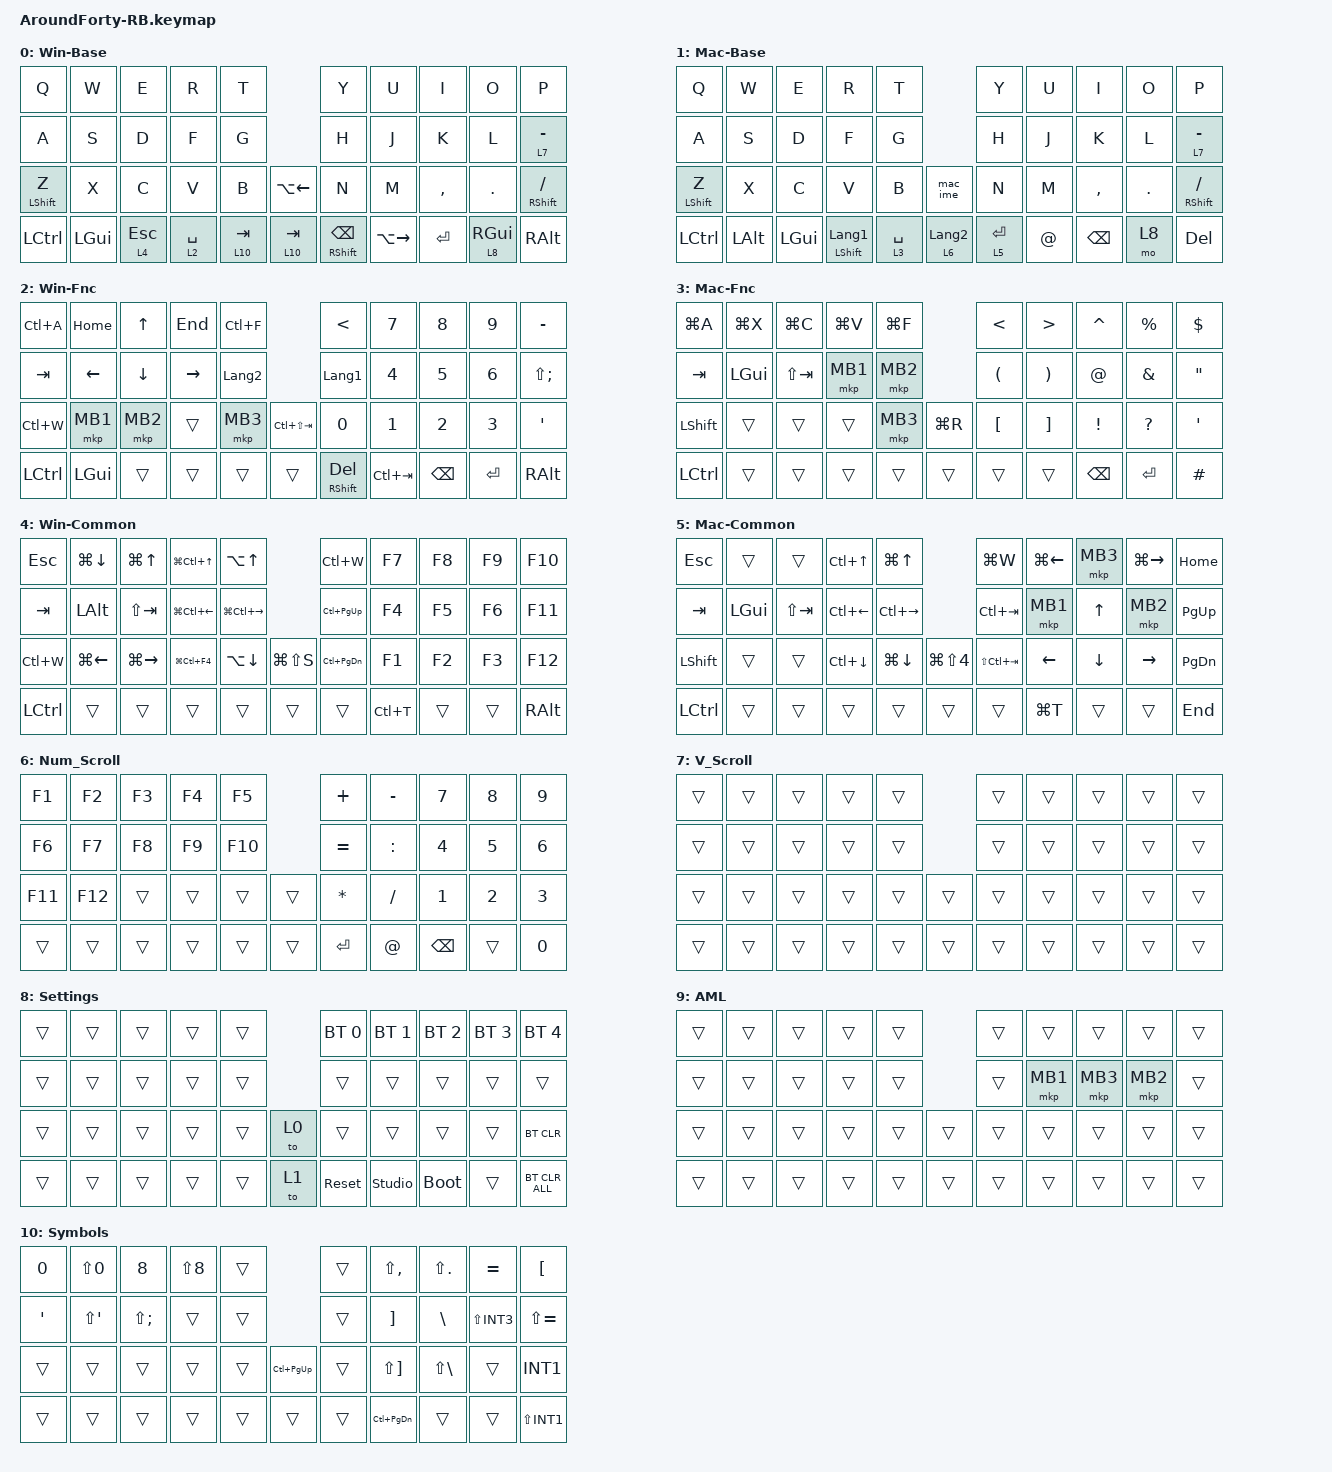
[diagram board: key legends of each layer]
#include <behaviors/rgbled_widget.dtsi>
#include <behaviors.dtsi>
#include <dt-bindings/zmk/bt.h>
#include <dt-bindings/zmk/keys.h>
#include <dt-bindings/zmk/pointing.h>

&mt {
    flavor = "balanced";
    quick-tap-ms = <0>;
};

/ {
    combos {
        compatible = "zmk,combos";

        Escape {
            bindings = <&kp ESCAPE>;
            key-positions = <0 1>;
        };
    };

    macros {
        to_layer_0: to_layer_0 {
            compatible = "zmk,behavior-macro-one-param";
            #binding-cells = <1>;
            bindings = <&to 0 &macro_param_1to1 &kp MACRO_PLACEHOLDER>;
            label = "TO_LAYER_0";
        };

        // Windows用入力切り替え：Alt + Grave (~)

        ime_tog: ime_toggle {
            compatible = "zmk,behavior-macro";
            #binding-cells = <0>;
            bindings =
                <&macro_press>,
                <&kp LALT>,
                <&macro_tap>,
                <&kp GRAVE>,
                <&macro_release>,
                <&kp LALT>;
        };

        // macOS用入力切り替え：Ctrl + Space

        mac_ime: mac_ime_toggle {
            compatible = "zmk,behavior-macro";
            #binding-cells = <0>;
            bindings =
                <&macro_press>,
                <&kp LCTRL>,
                <&macro_tap>,
                <&kp SPACE>,
                <&macro_release>,
                <&kp LCTRL>;
        };
    };

    behaviors {
        lt_to_layer_0: lt_to_layer_0 {
            compatible = "zmk,behavior-hold-tap";
            label = "LAYER_TAP_TO_0";
            bindings = <&mo>, <&to_layer_0>;

            #binding-cells = <2>;
            tapping-term-ms = <200>;
        };

        // 

        scroll_up_down: behavior_sensor_rotate_mouse_wheel_up_down {
            compatible = "zmk,behavior-sensor-rotate";
            #sensor-binding-cells = <0>;
            bindings = <&msc SCRL_UP>, <&msc SCRL_DOWN>;

            tap-ms = <20>;
        };
    };

    keymap {
        compatible = "zmk,keymap";

        Win-Base {
            display-name = "Win-Base";
            bindings = <
&kp Q             &kp W     &kp E     &kp R                 &kp T                              &kp Y                      &kp U         &kp I             &kp O            &kp P
&kp A             &kp S     &kp D     &kp F                 &kp G                              &kp H                      &kp J         &kp K             &kp L            &lt 7 MINUS
&mt LEFT_SHIFT Z  &kp X     &kp C     &kp V                 &kp B       &kp LA(LEFT)           &kp N                      &kp M         &kp COMMA         &kp DOT          &mt RIGHT_SHIFT SLASH
&kp LCTRL         &kp LGUI  &lt 4 ESC  &lt 2 SPACE          &lt 10 TAB  &lt 10 TAB             &mt RIGHT_SHIFT BACKSPACE  &kp LA(RIGHT) &kp ENTER         &lt 8 RIGHT_GUI  &kp RIGHT_ALT
            >;
        };

        Mac-Base {
            display-name = "Mac-Base";
            bindings = <
&kp Q             &kp W         &kp E         &kp R                 &kp T                          &kp Y        &kp U        &kp I          &kp O    &kp P
&kp A             &kp S         &kp D         &kp F                 &kp G                          &kp H        &kp J        &kp K          &kp L    &lt 7 MINUS
&mt LEFT_SHIFT Z  &kp X         &kp C         &kp V                 &kp B        &mac_ime          &kp N        &kp M        &kp COMMA      &kp DOT  &mt RIGHT_SHIFT SLASH
&kp LCTRL         &kp LEFT_ALT  &kp LEFT_GUI  &mt LSHFT LANGUAGE_1  &lt 3 SPACE  &lt 6 LANGUAGE_2  &lt 5 ENTER  &kp AT_SIGN  &kp BACKSPACE  &mo 8    &kp DEL
            >;
        };

        Win-Fnc {
            display-name = "Win-Fnc";
            bindings = <
&kp LC(A)       &kp HOME          &kp UP_ARROW      &kp END            &kp LC(F)                         &kp LESS_THAN             &kp N7                 &kp N8           &kp N9         &kp MINUS
&kp TAB         &kp LEFT_ARROW    &kp DOWN_ARROW    &kp RIGHT_ARROW    &kp LANGUAGE_2                    &kp LANGUAGE_1            &kp N4                 &kp N5           &kp N6         &kp LS(SEMI)
&kp LC(W)       &mkp MB1          &mkp MB2          &trans             &mkp MB3         &kp LC(LS(TAB))  &kp N0                    &kp N1                 &kp N2           &kp N3         &kp SINGLE_QUOTE 
&kp LCTRL       &kp LGUI          &trans            &trans             &trans           &trans           &mt RIGHT_SHIFT DELETE    &kp LC(TAB)      &kp BACKSPACE    &kp ENTER      &kp RIGHT_ALT
            >;
        };

        Mac-Fnc {
            display-name = "Mac-Fnc";
            bindings = <
&kp LG(A)       &kp LG(X)     &kp LG(C)    &kp LG(V)  &kp LG(F)             &kp LESS_THAN         &kp GREATER_THAN       &kp CARET        &kp PERCENT    &kp DOLLAR
&kp TAB         &kp LEFT_GUI  &kp LS(TAB)  &mkp MB1   &mkp MB2              &kp LEFT_PARENTHESIS  &kp RIGHT_PARENTHESIS  &kp AT_SIGN      &kp AMPERSAND  &kp DOUBLE_QUOTES
&kp LEFT_SHIFT  &trans        &trans       &trans     &mkp MB3   &kp LG(R)  &kp LEFT_BRACKET      &kp RIGHT_BRACKET      &kp EXCLAMATION  &kp QUESTION   &kp SINGLE_QUOTE
&kp LCTRL       &trans        &trans       &trans     &trans     &trans     &trans                &trans                 &kp BACKSPACE    &kp ENTER      &kp HASH
            >;
        };

        Win-Common {
            display-name = "Win-Common";
            bindings = <
&kp ESC    &kp LG(DOWN_ARROW)  &kp LG(UP_ARROW)     &kp LG(LC(UP_ARROW))    &kp LA(UP_ARROW)                        &kp LC(W)          &kp F7      &kp F8    &kp F9  &kp F10
&kp TAB    &kp LEFT_ALT        &kp LS(TAB)          &kp LG(LC(LEFT_ARROW))  &kp LG(LC(RIGHT_ARROW))                 &kp LC(PAGE_UP)    &kp F4      &kp F5    &kp F6  &kp F11
&kp LC(W)  &kp LG(LEFT_ARROW)  &kp LG(RIGHT_ARROW)  &kp LG(LC(F4))          &kp LA(DOWN_ARROW)       &kp LG(LS(S))  &kp LC(PAGE_DOWN)  &kp F1      &kp F2    &kp F3  &kp F12
&kp LCTRL  &trans              &trans               &trans                  &trans                   &trans         &trans             &kp LC(T)           &trans          &trans               &kp RIGHT_ALT
            >;
        };

        Mac-Common {
            display-name = "Mac-Common";
            bindings = <
&kp ESC    &trans        &trans       &kp LC(UP_ARROW)    &kp LG(UP_ARROW)                           &kp LG(W)        &kp LG(LEFT_ARROW)  &mkp MB3        &kp LG(RIGHT_ARROW)  &kp HOME
&kp TAB    &kp LEFT_GUI  &kp LS(TAB)  &kp LC(LEFT_ARROW)  &kp LC(RIGHT_ARROW)                        &kp LC(TAB)      &mkp MB1            &kp UP_ARROW    &mkp MB2             &kp PAGE_UP
&kp LSHFT  &trans        &trans       &kp LC(DOWN_ARROW)  &kp LG(DOWN_ARROW)   &kp LG(LS(NUMBER_4))  &kp LS(LC(TAB))  &kp LEFT_ARROW      &kp DOWN_ARROW  &kp RIGHT_ARROW      &kp PAGE_DOWN
&kp LCTRL  &trans        &trans       &trans              &trans               &trans                &trans           &kp LG(T)           &trans          &trans               &kp END
            >;
        };

        Num_Scroll {
            bindings = <
&kp F1   &kp F2   &kp F3  &kp F4  &kp F5           &kp PLUS      &kp MINUS    &kp N7    &kp N8  &kp N9
&kp F6   &kp F7   &kp F8  &kp F9  &kp F10          &kp EQUAL     &kp COLON    &kp N4    &kp N5  &kp N6
&kp F11  &kp F12  &trans  &trans  &trans   &trans  &kp ASTERISK  &kp FSLH     &kp N1    &kp N2  &kp N3
&trans   &trans   &trans  &trans  &trans   &trans  &kp ENTER     &kp AT_SIGN  &kp BSPC  &trans  &kp N0
            >;
        };

        V_Scroll {
            bindings = <
&trans  &trans  &trans  &trans  &trans          &trans  &trans  &trans  &trans  &trans
&trans  &trans  &trans  &trans  &trans          &trans  &trans  &trans  &trans  &trans
&trans  &trans  &trans  &trans  &trans  &trans  &trans  &trans  &trans  &trans  &trans
&trans  &trans  &trans  &trans  &trans  &trans  &trans  &trans  &trans  &trans  &trans
            >;
        };

        Settings {
            display-name = "Settings";
            bindings = <
&trans  &trans  &trans  &trans  &trans         &bt BT_SEL 0  &bt BT_SEL 1    &bt BT_SEL 2  &bt BT_SEL 3  &bt BT_SEL 4
&trans  &trans  &trans  &trans  &trans         &trans        &trans          &trans        &trans        &trans
&trans  &trans  &trans  &trans  &trans  &to 0  &trans        &trans          &trans        &trans        &bt BT_CLR
&trans  &trans  &trans  &trans  &trans  &to 1  &sys_reset    &studio_unlock  &bootloader   &trans        &bt BT_CLR_ALL
            >;
        };

        AML {
            display-name = "AML";
            bindings = <
&trans  &trans  &trans  &trans  &trans          &trans  &trans    &trans    &trans    &trans
&trans  &trans  &trans  &trans  &trans          &trans  &mkp MB1  &mkp MB3  &mkp MB2  &trans
&trans  &trans  &trans  &trans  &trans  &trans  &trans  &trans    &trans    &trans    &trans
&trans  &trans  &trans  &trans  &trans  &trans  &trans  &trans    &trans    &trans    &trans
            >;
        };

       Symbols {
            display-name = "Symbols";
            bindings = <
&kp N0                    &kp LS(N0)            &kp N8              &kp LS(N8)          &trans                   &trans                &kp LS(COMMA)         &kp LS(DOT)         &kp EQUAL          &kp LEFT_BRACKET
&kp SINGLE_QUOTE          &kp LS(SINGLE_QUOTE)  &kp LS(SEMI)        &trans              &trans                   &trans                &kp RIGHT_BRACKET     &kp BACKSLASH       &kp LS(INT3)       &kp LS(EQUAL)
&trans                    &trans                &trans              &trans              &trans  &kp LC(PAGE_UP)  &trans                &kp LS(RIGHT_BRACKET) &kp LS(BACKSLASH)   &trans             &kp INT1
&trans                    &trans                &trans              &trans              &trans  &trans           &trans                &kp LC(PAGE_DOWN)     &trans              &trans             &kp LS(INT1)
            >;
       };


    };
};
